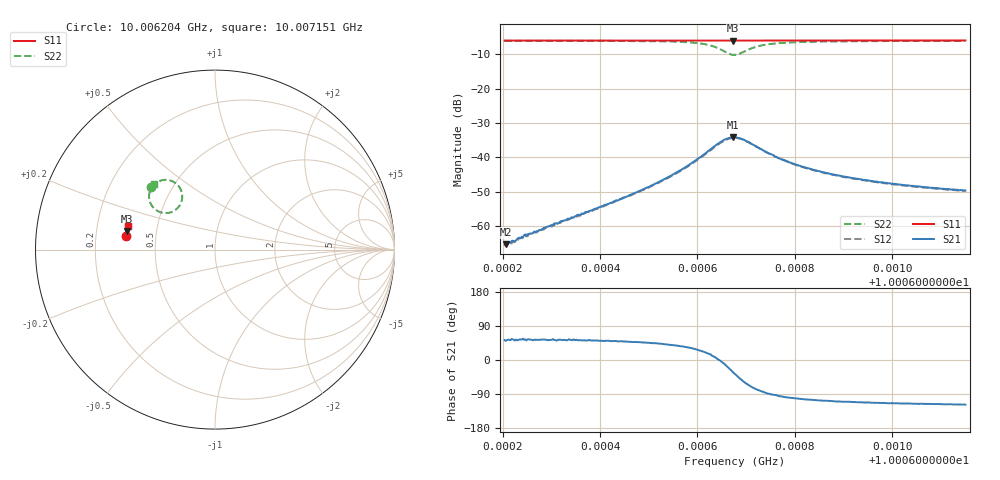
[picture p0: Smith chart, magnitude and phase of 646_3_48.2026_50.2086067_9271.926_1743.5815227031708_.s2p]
#  HZ  S  RI  R  50.00
! Rohde & Schwarz Vector Network Analyzer
! Rohde-Schwarz,ZNB20-2Port,1311601062101988,3.16
! Created: UTC 3/20/2024, 12:05:02 PM
! freq[Hz]  re:S11  im:S11  re:S21  im:S21  re:S12  im:S12  re:S22  im:S22
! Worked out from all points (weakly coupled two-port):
!   401 points, 10.006204 GHz to 10.007151 GHz, reference 50 ohm
!   highest |S21| = -34.16 dB at 10.006672 GHz (marker M1); lowest = -65.4 dB at 10.006206 GHz (marker M2)
!   lowest |S11| = -6.0 dB at 10.006672 GHz (marker M3), VSWR 3.02, Z = 16.7 + j4.6 ohm
!   |S11| at or under -10 dB: nowhere
!   |S22| runs from -10.1 to -6.0 dB; largest |S21 - S12| = 0.0015
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1.00062036e10  -0.4982 0.0735  0.000327 0.000427  0.000298 0.000407  -0.3567 0.3494
1.0006206e10  -0.4981 0.0736  0.000339 0.000414  0.000298 0.000444  -0.3564 0.3496
1.00062486e10  -0.4978 0.0764  0.000447 0.000565  0.000395 0.000605  -0.3533 0.353
1.00062605e10  -0.4977 0.0771  0.000463 0.000616  0.00044 0.000645  -0.3523 0.3539
1.00062723e10  -0.4975 0.0778  0.000501 0.000659  0.000464 0.000704  -0.3512 0.355
1.00063623e10  -0.4968 0.0838  0.000939 0.00119  0.000881 0.00121  -0.3425 0.363
1.00064617e10  -0.4957 0.0904  0.0019 0.00208  0.00173 0.00215  -0.3269 0.3741
1.00065209e10  -0.495 0.0943  0.00317 0.00302  0.00295 0.00307  -0.3098 0.3824
1.00065707e10  -0.4945 0.0977  0.00557 0.00397  0.00522 0.00416  -0.2831 0.3884
1.00066204e10  -0.4932 0.1009  0.0114 0.00365  0.0109 0.00416  -0.2268 0.375
1.00066512e10  -0.4922 0.1024  0.0172 -0.00185  0.0167 -0.000938  -0.1839 0.3124
1.00066606e10  -0.4919 0.1027  0.0178 -0.00545  0.0177 -0.00408  -0.1838 0.2788
1.00066725e10  -0.4917 0.1029  0.0167 -0.0103  0.0169 -0.00875  -0.2035 0.2367
1.00066772e10  -0.4918 0.1031  0.0155 -0.0117  0.0161 -0.0104  -0.2171 0.2235
1.00066985e10  -0.4922 0.1038  0.00873 -0.0152  0.00949 -0.0146  -0.2895 0.2044
1.00067317e10  -0.4925 0.1061  0.00163 -0.013  0.00224 -0.0128  -0.3512 0.2434
1.00067696e10  -0.4924 0.1087  -0.000927 -0.00952  -0.000448 -0.00955  -0.3664 0.2833
1.00068074e10  -0.4922 0.1114  -0.00159 -0.00747  -0.0012 -0.00745  -0.3667 0.307
1.00068359e10  -0.4918 0.1133  -0.00172 -0.00644  -0.00139 -0.00641  -0.3646 0.3187
1.00069022e10  -0.4909 0.1175  -0.00181 -0.00489  -0.00149 -0.00488  -0.3584 0.3362
1.00069945e10  -0.4897 0.1235  -0.00171 -0.00381  -0.00146 -0.00379  -0.3506 0.3505
1.00071508e10  -0.4875 0.1336  -0.00153 -0.00289  -0.00134 -0.00294  -0.3394 0.3655
